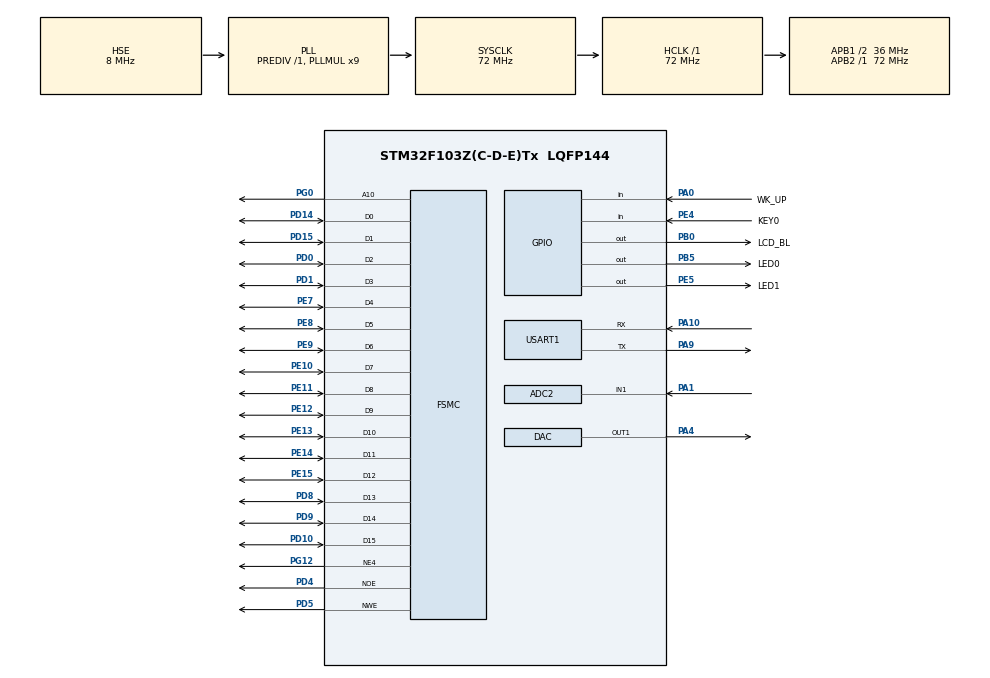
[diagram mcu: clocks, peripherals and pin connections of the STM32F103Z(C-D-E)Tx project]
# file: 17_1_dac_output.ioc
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ADC2.Channel-0\#ChannelRegularConversion=ADC_CHANNEL_1
ADC2.NbrOfConversionFlag=1
ADC2.Rank-0\#ChannelRegularConversion=1
ADC2.SamplingTime-0\#ChannelRegularConversion=ADC_SAMPLETIME_239CYCLES_5
DAC.DAC_OutputBuffer=DAC_OUTPUTBUFFER_DISABLE
FSMC.AddressSetupTime1=0
FSMC.DataSetupTime1=15
FSMC.ExtendedAddressSetupTime1=0
FSMC.ExtendedDataSetupTime1=1
FSMC.ExtendedMode1=FSMC_EXTENDED_MODE_ENABLE
Mcu.Family=STM32F1
Mcu.Name=STM32F103Z(C-D-E)Tx
Mcu.Package=LQFP144
NVIC.PriorityGroup=NVIC_PRIORITYGROUP_2
NVIC.USART1_IRQn=true\:2\:2\:true\:false\:true\:true\:true\:true
OSC_IN.Mode=HSE-External-Oscillator
OSC_IN.Signal=RCC_OSC_IN
OSC_OUT.Mode=HSE-External-Oscillator
OSC_OUT.Signal=RCC_OSC_OUT
PA0-WKUP.GPIO_Label=WK_UP
PA0-WKUP.GPIO_PuPd=GPIO_PULLDOWN
PA0-WKUP.Signal=GPIO_Input
PA1.Signal=ADCx_IN1
PA10.Mode=Asynchronous
PA10.Signal=USART1_RX
PA13.Mode=Serial_Wire
PA13.Signal=SYS_JTMS-SWDIO
PA14.Mode=Serial_Wire
PA14.Signal=SYS_JTCK-SWCLK
PA4.Signal=COMP_DAC1_group
PA9.Mode=Asynchronous
PA9.Signal=USART1_TX
PB0.GPIO_Label=LCD_BL
PB0.GPIO_PuPd=GPIO_PULLUP
PB0.GPIO_Speed=GPIO_SPEED_FREQ_HIGH
PB0.PinState=GPIO_PIN_SET
PB0.Signal=GPIO_Output
PB5.GPIO_Label=LED0
PB5.GPIO_PuPd=GPIO_PULLDOWN
PB5.GPIO_Speed=GPIO_SPEED_FREQ_HIGH
PB5.PinState=GPIO_PIN_SET
PB5.Signal=GPIO_Output
PC14-OSC32_IN.Mode=LSE-External-Oscillator
PC14-OSC32_IN.Signal=RCC_OSC32_IN
PC15-OSC32_OUT.Mode=LSE-External-Oscillator
PC15-OSC32_OUT.Signal=RCC_OSC32_OUT
PD0.Signal=FSMC_D2_DA2
PD1.Signal=FSMC_D3_DA3
PD10.Signal=FSMC_D15_DA15
PD14.Signal=FSMC_D0_DA0
PD15.Signal=FSMC_D1_DA1
PD4.Signal=FSMC_NOE
PD5.Signal=FSMC_NWE
PD8.Signal=FSMC_D13_DA13
PD9.Signal=FSMC_D14_DA14
PE10.Signal=FSMC_D7_DA7
PE11.Signal=FSMC_D8_DA8
PE12.Signal=FSMC_D9_DA9
PE13.Signal=FSMC_D10_DA10
PE14.Signal=FSMC_D11_DA11
PE15.Signal=FSMC_D12_DA12
PE4.GPIO_Label=KEY0
PE4.GPIO_PuPd=GPIO_PULLDOWN
PE4.Signal=GPIO_Input
PE5.GPIO_Label=LED1
PE5.GPIO_PuPd=GPIO_PULLDOWN
PE5.GPIO_Speed=GPIO_SPEED_FREQ_HIGH
PE5.PinState=GPIO_PIN_SET
PE5.Signal=GPIO_Output
PE7.Signal=FSMC_D4_DA4
PE8.Signal=FSMC_D5_DA5
PE9.Signal=FSMC_D6_DA6
PG0.Signal=FSMC_A10
PG12.Mode=NorPsramChipSelect4_1
PG12.Signal=FSMC_NE4
ProjectManager.HeapSize=0x200
ProjectManager.StackSize=0x400
ProjectManager.TargetToolchain=STM32CubeIDE
RCC.ADCPresc=RCC_ADCPCLK2_DIV6
RCC.AHBFreq_Value=72000000
RCC.APB1CLKDivider=RCC_HCLK_DIV2
RCC.APB1Freq_Value=36000000
RCC.APB1TimFreq_Value=72000000
RCC.APB2Freq_Value=72000000
RCC.APB2TimFreq_Value=72000000
RCC.HCLKFreq_Value=72000000
RCC.PLLMUL=RCC_PLL_MUL9
RCC.PLLSourceVirtual=RCC_PLLSOURCE_HSE
RCC.SYSCLKFreq_VALUE=72000000
RCC.SYSCLKSource=RCC_SYSCLKSOURCE_PLLCLK
RCC.USBFreq_Value=72000000
SH.ADCx_IN1.0=ADC2_IN1,IN1
SH.COMP_DAC1_group.0=DAC_OUT1,DAC_OUT1
SH.FSMC_A10.0=FSMC_A10,A10_1
SH.FSMC_D0_DA0.0=FSMC_D0,16b-d1
SH.FSMC_D10_DA10.0=FSMC_D10,16b-d1
SH.FSMC_D11_DA11.0=FSMC_D11,16b-d1
SH.FSMC_D12_DA12.0=FSMC_D12,16b-d1
SH.FSMC_D13_DA13.0=FSMC_D13,16b-d1
SH.FSMC_D14_DA14.0=FSMC_D14,16b-d1
SH.FSMC_D15_DA15.0=FSMC_D15,16b-d1
SH.FSMC_D1_DA1.0=FSMC_D1,16b-d1
SH.FSMC_D2_DA2.0=FSMC_D2,16b-d1
SH.FSMC_D3_DA3.0=FSMC_D3,16b-d1
SH.FSMC_D4_DA4.0=FSMC_D4,16b-d1
SH.FSMC_D5_DA5.0=FSMC_D5,16b-d1
SH.FSMC_D6_DA6.0=FSMC_D6,16b-d1
SH.FSMC_D7_DA7.0=FSMC_D7,16b-d1
SH.FSMC_D8_DA8.0=FSMC_D8,16b-d1
SH.FSMC_D9_DA9.0=FSMC_D9,16b-d1
SH.FSMC_NOE.0=FSMC_NOE,Lcd1
SH.FSMC_NWE.0=FSMC_NWE,Lcd1
USART1.VirtualMode=VM_ASYNC
board=custom

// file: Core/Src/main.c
/* USER CODE BEGIN Header */
/**
 ****************************************************************************************************
 * @file        main.c
 * @author      ALIENTEK
 * @brief       dac_output code
 * @license     Copyright (C) 2012-2024, ALIENTEK
 ****************************************************************************************************
 * @attention
 *
 * platform     : ALIENTEK M144-STM32F103 board
 * website      : www.alientek.com
 * forum        : www.openedv.com/forum.php
 *
 * change logs  :
 * version      data         notes
 * V1.0         20240410     the first version
 *
 ****************************************************************************************************
 */
/* USER CODE END Header */
#include "main.h"
#include "adc.h"
#include "dac.h"
#include "usart.h"
#include "gpio.h"
#include "fsmc.h"

/* USER CODE BEGIN Includes */
#include "../../BSP/LED/led.h"
#include "../../BSP/KEY/key.h"
#include "../../BSP/LCD/lcd.h"
/* USER CODE END Includes */

void SystemClock_Config(void);

int main(void)
{
  /* USER CODE BEGIN 1 */
    uint8_t t = 0;
    uint8_t key;
    uint16_t dac_value;
    uint16_t dac_voltage = 100;
    uint16_t adc_value;
    uint16_t adc_voltage;
  /* USER CODE END 1 */

  /* MCU Configuration--------------------------------------------------------*/

  /* Reset of all peripherals, Initializes the Flash interface and the Systick. */
  HAL_Init();

  /* Configure the system clock */
  SystemClock_Config();

  /* Initialize all configured peripherals */
  MX_GPIO_Init();
  MX_USART1_UART_Init();
  MX_FSMC_Init();
  MX_ADC2_Init();
  MX_DAC_Init();
  /* USER CODE BEGIN 2 */

  lcd_init();

  HAL_DAC_Start(&hdac,DAC_CHANNEL_1);   	/* Enable DAC channel 1 */

  lcd_show_string(30, 50, 200, 16, 16, "STM32", RED);
  lcd_show_string(30, 70, 200, 16, 16, "DAC TEST", RED);
  lcd_show_string(30, 90, 200, 16, 16, "ATOM@ALIENTEK", RED);

  lcd_show_string(30, 110, 200, 16, 16, "WK_UP:+ KEY0:-", RED);

  lcd_show_string(30, 130, 200, 16, 16, "DAC_CH1 VAL:", BLUE);
  lcd_show_string(30, 150, 200, 16, 16, "DAC_CH1_VOL:0.000V", BLUE);
  lcd_show_string(30, 170, 200, 16, 16, "ADC2_CH1_VOL:0.000V", BLUE);

  HAL_DAC_SetValue(&hdac, DAC_CHANNEL_1, DAC_ALIGN_12B_R, dac_voltage);  /* Output increased by 200 */

  /* USER CODE END 2 */

  /* Infinite loop */
  while (1)
  {
	  key = key_scan(0);

	  if (key == WKUP_PRES)
	  {
		  if (dac_voltage < 3300)
		  {
			  dac_voltage += 100;
			  HAL_DAC_SetValue(&hdac, DAC_CHANNEL_1, DAC_ALIGN_12B_R, dac_voltage);  /* Output increased by 100 */
		  }
	  }
	  else if (key == KEY0_PRES)
	  {
		  if (dac_voltage > 100)
		  {
			  dac_voltage -= 100;
			  HAL_DAC_SetValue(&hdac, DAC_CHANNEL_1, DAC_ALIGN_12B_R, dac_voltage); 	/* Output reduced by 100 */
		  }
	  }

      if (++t == 20)
      {
          t = 0;

          /* Display the DAC output in digital quantity. */
          dac_value = HAL_DAC_GetValue(&hdac, DAC_CHANNEL_1);
          lcd_show_xnum(126, 130, dac_value, 4, 16, 0, BLUE);

          /* Display the DAC output in analog quantity. */
          lcd_show_xnum(126, 150, dac_voltage / 1000, 1, 16, 0, BLUE);
          lcd_show_xnum(142, 150, dac_voltage % 1000, 3, 16, 0x80, BLUE);

          /* Display the analog quantity acquired by the ADC. */
          adc_value = adc2_get_result_average(ADC_CHANNEL_1, 10);
          adc_voltage = (adc_value * 3300) / 4095;
          lcd_show_xnum(134, 170, adc_voltage / 1000, 1, 16, 0, BLUE);
          lcd_show_xnum(150, 170, adc_voltage % 1000, 3, 16, 0x80, BLUE);

          LED0_TOGGLE();
      }

	  HAL_Delay(10);
  }
}

void SystemClock_Config(void)
{
  RCC_OscInitTypeDef RCC_OscInitStruct = {0};
  RCC_ClkInitTypeDef RCC_ClkInitStruct = {0};
  RCC_PeriphCLKInitTypeDef PeriphClkInit = {0};

  /** Initializes the RCC Oscillators according to the specified parameters
  * in the RCC_OscInitTypeDef structure.
  */
  RCC_OscInitStruct.OscillatorType = RCC_OSCILLATORTYPE_HSE;
  RCC_OscInitStruct.HSEState = RCC_HSE_ON;
  RCC_OscInitStruct.HSEPredivValue = RCC_HSE_PREDIV_DIV1;
  RCC_OscInitStruct.HSIState = RCC_HSI_ON;
  RCC_OscInitStruct.PLL.PLLState = RCC_PLL_ON;
  RCC_OscInitStruct.PLL.PLLSource = RCC_PLLSOURCE_HSE;
  RCC_OscInitStruct.PLL.PLLMUL = RCC_PLL_MUL9;
  if (HAL_RCC_OscConfig(&RCC_OscInitStruct) != HAL_OK)
  {
    Error_Handler();
  }

  /** Initializes the CPU, AHB and APB buses clocks
  */
  RCC_ClkInitStruct.ClockType = RCC_CLOCKTYPE_HCLK|RCC_CLOCKTYPE_SYSCLK
                              |RCC_CLOCKTYPE_PCLK1|RCC_CLOCKTYPE_PCLK2;
  RCC_ClkInitStruct.SYSCLKSource = RCC_SYSCLKSOURCE_PLLCLK;
  RCC_ClkInitStruct.AHBCLKDivider = RCC_SYSCLK_DIV1;
  RCC_ClkInitStruct.APB1CLKDivider = RCC_HCLK_DIV2;
  RCC_ClkInitStruct.APB2CLKDivider = RCC_HCLK_DIV1;

  if (HAL_RCC_ClockConfig(&RCC_ClkInitStruct, FLASH_LATENCY_2) != HAL_OK)
  {
    Error_Handler();
  }
  PeriphClkInit.PeriphClockSelection = RCC_PERIPHCLK_ADC;
  PeriphClkInit.AdcClockSelection = RCC_ADCPCLK2_DIV6;
  if (HAL_RCCEx_PeriphCLKConfig(&PeriphClkInit) != HAL_OK)
  {
    Error_Handler();
  }
}

void Error_Handler(void)
{
  __disable_irq();
  while (1)
  {
  }
}
